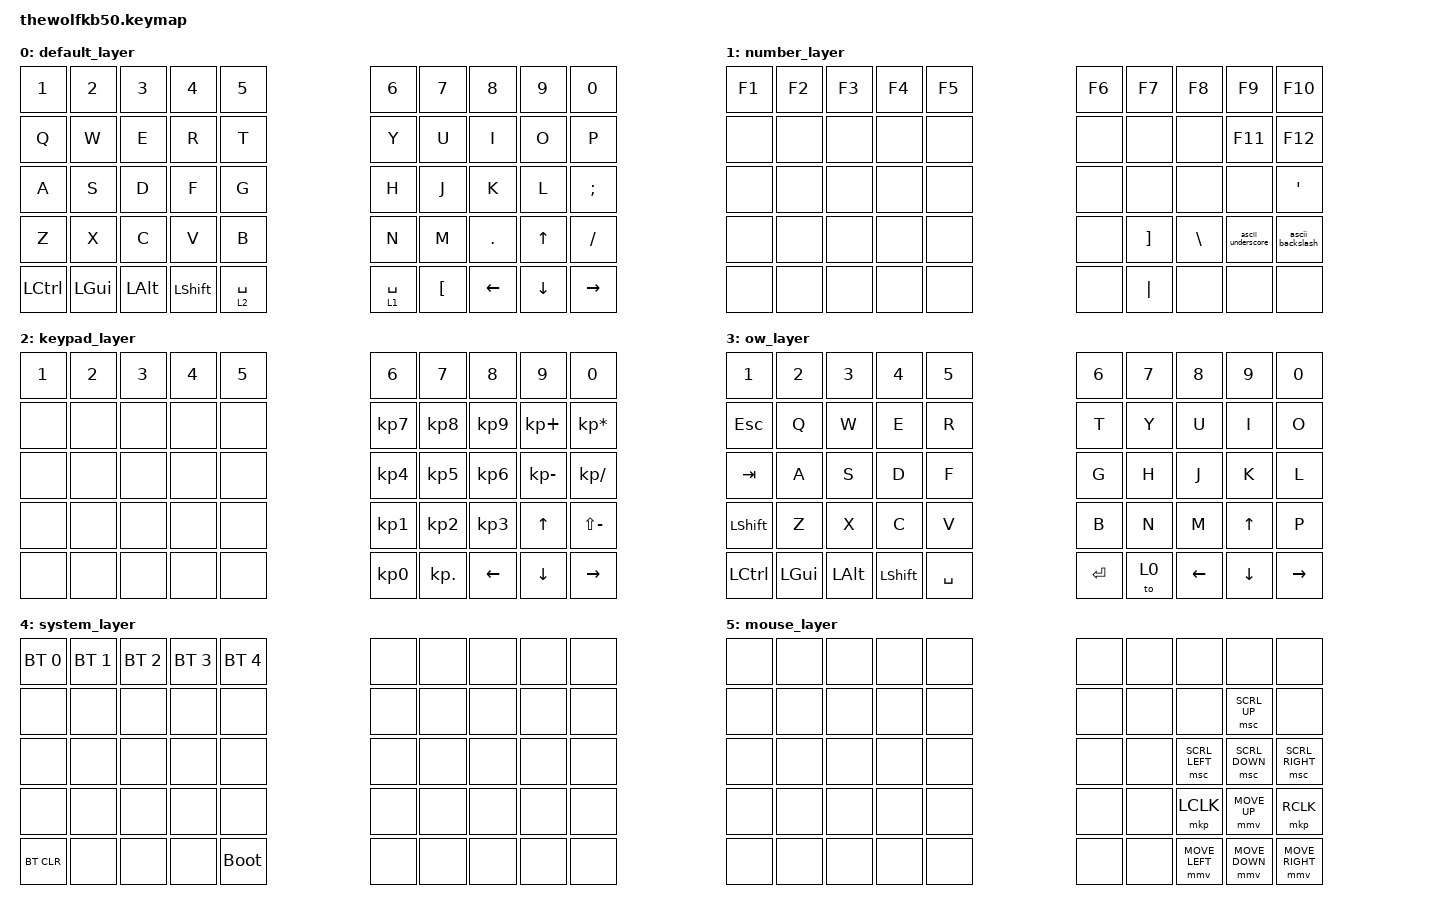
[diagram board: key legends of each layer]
#include <behaviors.dtsi>
#include <dt-bindings/zmk/bt.h>
#include <dt-bindings/zmk/keys.h>
#include <dt-bindings/zmk/outputs.h>
#include <dt-bindings/zmk/mouse.h>

#define ZMK_POINTING_DEFAULT_MOVE_VAL 1500  // default: 600
#define ZMK_POINTING_DEFAULT_SCRL_VAL 20    // default: 10

#include <dt-bindings/zmk/pointing.h>

&mmv {
    x-input-code = <INPUT_REL_X>;
    y-input-code = <INPUT_REL_Y>;
    time-to-max-speed-ms = <500>;
    acceleration-exponent = <1>;
};

&msc {
    x-input-code = <INPUT_REL_HWHEEL>;
    y-input-code = <INPUT_REL_WHEEL>;
    time-to-max-speed-ms = <0>;
    acceleration-exponent = <0>;
};

/ {
	#define DEFAULT 0
    #define NUMBER  1
    #define KEYPAD  2
    #define GAME    3
    #define SYSTEM  4
	#define MOUSE   5

    //新增複數按鍵的組合
    combos
    {
        compatible = "zmk,combos";
        
        // 注音輸入對應
        combo_grave{
            timeout-ms = <50>;
            key-positions = <0 1>;
            bindings = <&kp GRAVE>;
        };

        combo_minus{
            timeout-ms = <50>;
            key-positions = <7 8>;
            bindings = <&kp MINUS>;
        };

        combo_equal{
            timeout-ms = <50>;
            key-positions = <8 9>;
            bindings = <&kp EQUAL>;
        };

        // 一般功能鍵
        combo_enter{
            timeout-ms = <50>;
            key-positions = <28 29>;
            bindings = <&kp RETURN>;
        };

        combo_backspace{
            timeout-ms = <50>;
            key-positions = <18 19>;
            bindings = <&kp BACKSPACE>;
            layers = <0>;
        };

        combo_delete{
            timeout-ms = <50>;
            key-positions = <18 19>;
            bindings = <&kp DELETE>;
            layers = <2>;
        };
        
        combo_comma{
            timeout-ms = <50>;
            key-positions = <36 37>;
            bindings = <&kp COMMA>;
            layers = <0>;
        };

        combo_esc{
            timeout-ms = <50>;
            key-positions = <10 11>;
            bindings = <&kp ESC>;
            layers = <0>;
        };

        combo_tab{
            timeout-ms = <50>;
            key-positions = <20 21>;
            bindings = <&kp TAB>;
            layers = <0>;
        };
        
        combo_page_up{
            timeout-ms = <50>;
            key-positions = <38 49>;
            bindings = <&kp PAGE_UP>;
            layers = <0>;
        };
        
        combo_page_down{
            timeout-ms = <50>;
            key-positions = <48 49>;
            bindings = <&kp PAGE_DOWN>;
            layers = <0>;
        };
        
        combo_home{
            timeout-ms = <50>;
            key-positions = <38 47>;
            bindings = <&kp HOME>;
            layers = <0>;
        };

        combo_end{
            timeout-ms = <50>;
            key-positions = <47 48>;
            bindings = <&kp END>;
            layers = <0>;
        };

        combo_ow{
            timeout-ms = <50>;
            key-positions = <5 9>;
            bindings = <&to 3>;
            layers = <0>;
        };

        combo_system{
            timeout-ms = <50>;
            key-positions = <45 49>;
            bindings = <&mo 4>;
            layers = <0>;
        };

		combo_mouse{
            timeout-ms = <50>;
            key-positions = <43 44>;
            bindings = <&mo MOUSE>;
            layers = <0>;
        };
    };

    macros {
        ascii_underscore: ascii_underscore {
            compatible = "zmk,behavior-macro";
            #binding-cells = <0>;
            bindings
                = <&macro_press &kp LALT>
                , <&macro_tap &kp KP_N9 &kp KP_N5>
                , <&macro_release &kp LALT>
                ;
        };

        ascii_backslash: ascii_backslash {
            compatible = "zmk,behavior-macro";
            #binding-cells = <0>;
            bindings
                = <&macro_press &kp LALT>
                , <&macro_tap &kp KP_N9 &kp KP_N2>
                , <&macro_release &kp LALT>
                ;
        };
    };

    keymap
    {
        compatible = "zmk,keymap";

        default_layer
        {
            bindings = <
                &kp N1     &kp N2        &kp N3        &kp N4      &kp N5           &kp N6       &kp N7            &kp N8    &kp N9    &kp N0 
                &kp Q      &kp W         &kp E         &kp R       &kp T            &kp Y        &kp U             &kp I     &kp O     &kp P 
                &kp A      &kp S         &kp D         &kp F       &kp G            &kp H        &kp J             &kp K     &kp L     &kp SEMICOLON 
                &kp Z      &kp X         &kp C         &kp V       &kp B            &kp N        &kp M             &kp DOT   &kp UP    &kp SLASH 
                &kp LCTRL  &kp LEFT_GUI  &kp LEFT_ALT  &kp LSHIFT  &lt 2 SPACE      &lt 1 SPACE  &kp LEFT_BRACKET  &kp LEFT  &kp DOWN  &kp RIGHT
            >;
        };

        number_layer
        {
            bindings = <
                &kp F1  &kp F2  &kp F3  &kp F4  &kp F5       &kp F6  &kp F7             &kp F8         &kp F9             &kp F10
                &none   &none   &none   &none   &none        &none   &none              &none          &kp F11            &kp F12
                &none   &none   &none   &none   &none        &none   &none              &none          &none              &kp SINGLE_QUOTE
                &none   &none   &none   &none   &none        &none   &kp RIGHT_BRACKET  &kp BACKSLASH  &ascii_underscore  &ascii_backslash
                &none   &none   &none   &none   &none        &none   &kp PIPE           &none          &none              &none
            >;
        };
         
        keypad_layer
        {
            bindings = <
                &kp N1  &kp N2  &kp N3  &kp N4  &kp N5      &kp N6     &kp N7       &kp N8      &kp N9        &kp N0 
                &none   &none   &none   &none   &none       &kp KP_N7  &kp KP_N8    &kp KP_N9   &kp KP_PLUS   &kp KP_MULTIPLY 
                &none   &none   &none   &none   &none       &kp KP_N4  &kp KP_N5    &kp KP_N6   &kp KP_MINUS  &kp KP_DIVIDE 
                &none   &none   &none   &none   &none       &kp KP_N1  &kp KP_N2    &kp KP_N3   &kp UP        &kp LS(MINUS) 
                &none   &none   &none   &none   &none       &kp KP_N0  &kp KP_DOT   &kp LEFT    &kp DOWN      &kp RIGHT
            >;
        };

        ow_layer
        {
            bindings = <
                &kp N1      &kp N2        &kp N3        &kp N4      &kp N5         &kp N6      &kp N7  &kp N8     &kp N9     &kp N0
                &kp ESC     &kp Q         &kp W         &kp E       &kp R          &kp T       &kp Y   &kp U      &kp I      &kp O
                &kp TAB     &kp A         &kp S         &kp D       &kp F          &kp G       &kp H   &kp J      &kp K      &kp L
                &kp LSHIFT  &kp Z         &kp X         &kp C       &kp V          &kp B       &kp N   &kp M      &kp UP     &kp P 
                &kp LCTRL   &kp LEFT_GUI  &kp LEFT_ALT  &kp LSHIFT  &kp SPACE      &kp RETURN  &to 0   &kp LEFT   &kp DOWN   &kp RIGHT
            >;
        };
        
        system_layer
        {
            bindings = <
                &bt BT_SEL 0  &bt BT_SEL 1  &bt BT_SEL 2  &bt BT_SEL 3  &bt BT_SEL 4      &none  &none  &none  &none  &none 
                &none         &none         &none         &none         &none             &none  &none  &none  &none  &none 
                &none         &none         &none         &none         &none             &none  &none  &none  &none  &none 
                &none         &none         &none         &none         &none             &none  &none  &none  &none  &none 
                &bt BT_CLR    &none         &none         &none         &bootloader       &none  &none  &none  &none  &none>;
        };

        mouse_layer
        {
            bindings = <
                &none  &none  &none  &none  &none      &none  &none  &none           &none            &none 
                &none  &none  &none  &none  &none      &none  &none  &none           &msc SCRL_UP     &none 
                &none  &none  &none  &none  &none      &none  &none  &msc SCRL_LEFT  &msc SCRL_DOWN   &msc SCRL_RIGHT 
                &none  &none  &none  &none  &none      &none  &none  &mkp LCLK       &mmv MOVE_UP     &mkp RCLK 
                &none  &none  &none  &none  &none      &none  &none  &mmv MOVE_LEFT  &mmv MOVE_DOWN   &mmv MOVE_RIGHT
            >;
        };
    };
};
